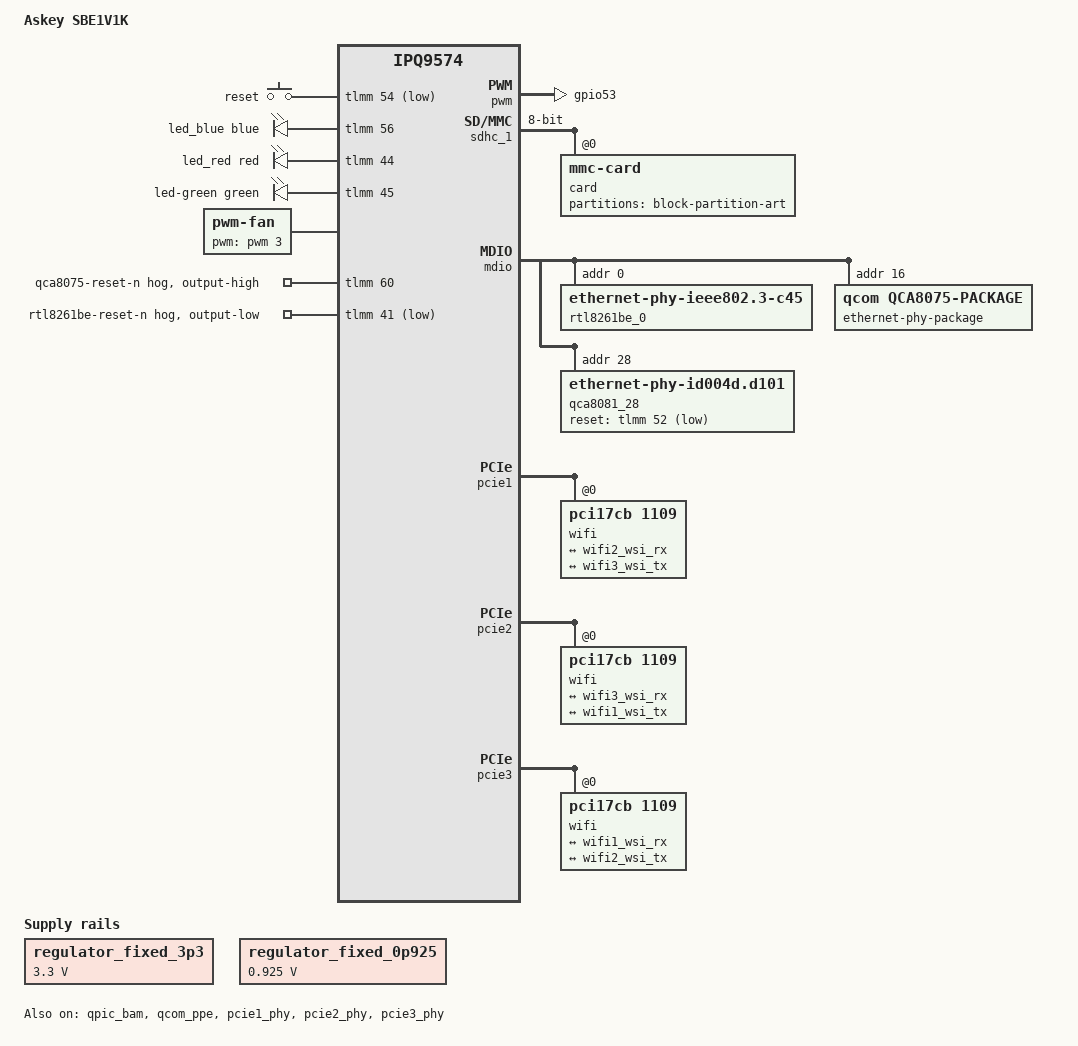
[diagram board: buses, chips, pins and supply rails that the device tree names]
// SPDX-License-Identifier: (GPL-2.0+ OR BSD-3-Clause)

/dts-v1/;

#include "ipq9574-common.dtsi"

/ {
	model = "Askey SBE1V1K";
	compatible = "askey,sbe1v1k", "qcom,ipq9574";

	aliases {
		led-boot = &led_blue;
		led-failsafe = &led_red;
		led-running = &led_blue;
		led-upgrade = &led_blue;
	};

	regulator_fixed_3p3: s3300 {
		compatible = "regulator-fixed";
		regulator-min-microvolt = <3300000>;
		regulator-max-microvolt = <3300000>;
		regulator-boot-on;
		regulator-always-on;
		regulator-name = "fixed_3p3";
	};

	regulator_fixed_0p925: s0925 {
		compatible = "regulator-fixed";
		regulator-min-microvolt = <925000>;
		regulator-max-microvolt = <925000>;
		regulator-boot-on;
		regulator-always-on;
		regulator-name = "fixed_0p925";
	};

	gpio-keys {
		compatible = "gpio-keys";
		pinctrl-0 = <&gpio_keys_default>;
		pinctrl-names = "default";

		reset {
			label = "reset";
			linux,code = <KEY_RESTART>;
			gpios = <&tlmm 54 GPIO_ACTIVE_LOW>;
			debounce-interval = <60>;
		};
	};

	leds {
		compatible = "gpio-leds";

		led_blue: led-blue {
			color = <LED_COLOR_ID_BLUE>;
			function = LED_FUNCTION_STATUS;
			gpios = <&tlmm 56 GPIO_ACTIVE_HIGH>;
		};

		led_red: led-red {
			color = <LED_COLOR_ID_RED>;
			function = LED_FUNCTION_STATUS;
			gpios = <&tlmm 44 GPIO_ACTIVE_HIGH>;
		};

		led-green {
			color = <LED_COLOR_ID_GREEN>;
			function = LED_FUNCTION_STATUS;
			gpios = <&tlmm 45 GPIO_ACTIVE_HIGH>;
		};
	};

	fan: pwm-fan {
		compatible = "pwm-fan";
		pwms = <&pwm 3 40000 0>;
		#cooling-cells = <2>;
		cooling-levels = <36 72 128 255>;
	};

	thermal-zones {
		top-glue-thermal {
			thermal-sensors = <&tsens 15>;

			trips {
				cpu_trip_crit: crit {
					temperature = <110000>;
					hysteresis = <1000>;
					type = "critical";
				};

				cpu_trip_hot: hot {
					temperature = <100000>;
					hysteresis = <1000>;
					type = "hot";
				};

				cpu_trip_active_high: active-high {
					temperature = <80000>;
					hysteresis = <1000>;
					type = "active";
				};

				cpu_trip_active_med: active-med {
					temperature = <65000>;
					hysteresis = <1000>;
					type = "active";
				};

				cpu_trip_active_low: active-low {
					temperature = <50000>;
					hysteresis = <1000>;
					type = "active";
				};

				cpu_trip_active_silent: active-silent {
					temperature = <40000>;
					hysteresis = <1000>;
					type = "active";
				};
			};

			cooling-maps {
				cpu-active-high {
					cooling-device = <&fan 3 3>;
					trip = <&cpu_trip_active_high>;
				};

				cpu-active-med {
					cooling-device = <&fan 2 2>;
					trip = <&cpu_trip_active_med>;
				};

				cpu-active-low {
					cooling-device = <&fan 1 1>;
					trip = <&cpu_trip_active_low>;
				};

				cpu-active-silent {
					cooling-device = <&fan 0 0>;
					trip = <&cpu_trip_active_silent>;
				};
			};
		};
	};
};

&pwm {
	pinctrl-0 = <&pwm_pins>;
	pinctrl-names = "default";
	status = "okay";
};

&rpm_requests {
	regulators {
		mp5496_l5: l5 {
			regulator-min-microvolt = <1800000>;
			regulator-max-microvolt = <1800000>;
			regulator-always-on;
			regulator-boot-on;
		};
	};
};

&sdhc_1 {
	#address-cells = <1>;
	#size-cells = <0>;
	bus-width = <8>;
	max-frequency = <384000000>;
	mmc-ddr-1_8v;
	mmc-hs200-1_8v;
	mmc-hs400-1_8v;
	mmc-hs400-enhanced-strobe;
	pinctrl-0 = <&sdc_default_state>;
	pinctrl-names = "default";
	status = "okay";

	card@0 {
		compatible = "mmc-card";
		reg = <0>;

		block {
			compatible = "block-device";

			partitions {
				block-partition-art {
					partname = "0:ART";

					nvmem-layout {
						compatible = "fixed-layout";
						#address-cells = <1>;
						#size-cells = <1>;

						ethaddr: ethaddr@0 {
							compatible = "mac-base";
							reg = <0x0 0x6>;
							#nvmem-cell-cells = <1>;
						};
					};
				};
			};
		};
	};
};

&tlmm {
	/*
	 * GPIO 60 is the shared hardware reset for the QCA8075 package, and the
	 * board holds it asserted (low) at power-on. reset-gpios is NOT honored
	 * on the package container node nor on the ethernet-phy@N nodes inside
	 * it (only standalone PHY nodes get MDIO reset handling), so drive it
	 * here as a gpio-hog. The hog is applied when the tlmm gpiochip
	 * registers (very early), releasing the package well before the MDIO
	 * bus is scanned; otherwise PHYs 18/19 read as "missing" and PPE port 3
	 * fails to connect (-ENODEV), wedging the whole ethernet driver.
	 */
	qca8075_reset_hog {
		gpio-hog;
		gpios = <60 GPIO_ACTIVE_HIGH>;
		output-high;
		line-name = "qca8075-reset-n";
	};

	/*
	 * RTL8261BE 10G PHY reset, same rationale as qca8075_reset_hog above:
	 * the kernel reads the PHY ID in mdiobus_scan(), before reset-gpios
	 * assert/deassert runs (that happens in phy_probe). This board holds
	 * the reset line asserted at power-on, so phy_id reads back 0x00000000,
	 * the driver binds the Generic Clause 45 PHY and WAN never comes up.
	 * Release it from a gpio-hog, applied when the tlmm gpiochip registers.
	 */
	rtl8261be_reset_hog {
		gpio-hog;
		gpios = <41 GPIO_ACTIVE_LOW>;
		output-low;
		line-name = "rtl8261be-reset-n";
	};

	gpio_keys_default: gpio-keys-default-state {
		pins = "gpio54";
		function = "gpio";
		drive-strength = <8>;
		bias-pull-up;
	};

	pwm_pins: pwm-pins {
		pwm {
			pins = "gpio53";
			function = "pwm";
			drive-strength = <8>;
		};
	};
};

&qpic_bam {
	status = "okay";
};

&qcom_ppe {
	status = "okay";

	ethernet-ports {
		#address-cells = <1>;
		#size-cells = <0>;

		port@3 {
			reg = <3>;
			phy-mode = "qsgmii";
			phy-handle = <&qca8075_18>;
			pcs-handle = <&pcs0_ch2>;
			managed = "in-band-status";
			label = "lan2";

			nvmem-cells = <&ethaddr 1>;
			nvmem-cell-names = "mac-address";

			clocks = <&nsscc NSS_CC_PORT3_MAC_CLK>,
				 <&nsscc NSS_CC_PORT3_RX_CLK>,
				 <&nsscc NSS_CC_PORT3_TX_CLK>;
			clock-names = "mac", "rx", "tx";

			resets = <&nsscc PORT3_MAC_ARES>,
				 <&nsscc PORT3_RX_ARES>,
				 <&nsscc PORT3_TX_ARES>;
			reset-names = "mac", "rx", "tx";
		};

		port@4 {
			reg = <4>;
			phy-mode = "qsgmii";
			phy-handle = <&qca8075_19>;
			pcs-handle = <&pcs0_ch3>;
			managed = "in-band-status";
			label = "lan3";

			nvmem-cells = <&ethaddr 1>;
			nvmem-cell-names = "mac-address";

			clocks = <&nsscc NSS_CC_PORT4_MAC_CLK>,
				 <&nsscc NSS_CC_PORT4_RX_CLK>,
				 <&nsscc NSS_CC_PORT4_TX_CLK>;
			clock-names = "mac", "rx", "tx";

			resets = <&nsscc PORT4_MAC_ARES>,
				 <&nsscc PORT4_RX_ARES>,
				 <&nsscc PORT4_TX_ARES>;
			reset-names = "mac", "rx", "tx";
		};

		port@5 {
			reg = <5>;
			phy-mode = "usxgmii";
			phy-handle = <&qca8081_28>;
			pcs-handle = <&pcs1_ch0>;
			managed = "in-band-status";
			label = "lan1";

			nvmem-cells = <&ethaddr 1>;
			nvmem-cell-names = "mac-address";

			clocks = <&nsscc NSS_CC_PORT5_MAC_CLK>,
				 <&nsscc NSS_CC_PORT5_RX_CLK>,
				 <&nsscc NSS_CC_PORT5_TX_CLK>;
			clock-names = "mac", "rx", "tx";

			resets = <&nsscc PORT5_MAC_ARES>,
				 <&nsscc PORT5_RX_ARES>,
				 <&nsscc PORT5_TX_ARES>;
			reset-names = "mac", "rx", "tx";
		};

		port@6 {
			reg = <6>;
			phy-mode = "usxgmii";
			phy-handle = <&rtl8261be_0>;
			pcs-handle = <&pcs2_ch0>;
			managed = "in-band-status";
			label = "wan";

			nvmem-cells = <&ethaddr 0>;
			nvmem-cell-names = "mac-address";

			clocks = <&nsscc NSS_CC_PORT6_MAC_CLK>,
				 <&nsscc NSS_CC_PORT6_RX_CLK>,
				 <&nsscc NSS_CC_PORT6_TX_CLK>;
			clock-names = "mac", "rx", "tx";

			resets = <&nsscc PORT6_MAC_ARES>,
				 <&nsscc PORT6_RX_ARES>,
				 <&nsscc PORT6_TX_ARES>;
			reset-names = "mac", "rx", "tx";
		};
	};
};

&mdio {
	status = "okay";

	rtl8261be_0: ethernet-phy@0 {
		compatible = "ethernet-phy-ieee802.3-c45";
		reg = <0>;
	};

	ethernet-phy-package@16 {
		compatible = "qcom,qca8075-package";
		#address-cells = <1>;
		#size-cells = <0>;
		reg = <16>;

		qcom,package-mode = "qsgmii";

		qca8075_18: ethernet-phy@18 {
			compatible = "ethernet-phy-ieee802.3-c22";
			reg = <18>;
		};

		qca8075_19: ethernet-phy@19 {
			compatible = "ethernet-phy-ieee802.3-c22";
			reg = <19>;
		};
	};

	qca8081_28: ethernet-phy@28 {
		compatible = "ethernet-phy-id004d.d101";
		reg = <28>;
		reset-gpios = <&tlmm 52 GPIO_ACTIVE_LOW>;
		reset-deassert-us = <10000>;

		leds {
			#address-cells = <1>;
			#size-cells = <0>;

			led@0 {
				reg = <0>;
				color = <LED_COLOR_ID_YELLOW>;
				default-state = "keep";
				function = LED_FUNCTION_LAN;
				active-low;
			};

			led@2 {
				reg = <2>;
				color = <LED_COLOR_ID_GREEN>;
				default-state = "keep";
				function = LED_FUNCTION_LAN;
				active-low;
			};
		};
	};
};

&pcie1_phy {
	status = "okay";
};

&pcie1 {
	pinctrl-0 = <&pcie1_default>;
	pinctrl-names = "default";

	perst-gpios = <&tlmm 26 GPIO_ACTIVE_LOW>;
	wake-gpios = <&tlmm 27 GPIO_ACTIVE_LOW>;
	status = "okay";

	pcie@0 {
		device_type = "pci";
		reg = <0x0 0x0 0x0 0x0 0x0>;
		#address-cells = <3>;
		#size-cells = <2>;
		ranges;

		wifi@0 {
			compatible = "pci17cb,1109";
			reg = <0x0 0x0 0x0 0x0 0x0>;
			qcom,calibration-variant = "Askey-SBE1V1K_1";

			nvmem-cells = <&ethaddr (-3)>;
			nvmem-cell-names = "mac-address";

			ports {
				#address-cells = <1>;
				#size-cells = <0>;

				port@0 {
					reg = <0>;

					wifi1_wsi_tx: endpoint {
						remote-endpoint = <&wifi2_wsi_rx>;
					};
				};

				port@1 {
					reg = <1>;

					wifi1_wsi_rx: endpoint {
						remote-endpoint = <&wifi3_wsi_tx>;
					};
				};
			};
		};
	};
};

&pcie2_phy {
	status = "okay";
};

&pcie2 {
	pinctrl-0 = <&pcie2_default>;
	pinctrl-names = "default";

	perst-gpios = <&tlmm 29 GPIO_ACTIVE_LOW>;
	wake-gpios = <&tlmm 30 GPIO_ACTIVE_LOW>;
	status = "okay";

	pcie@0 {
		device_type = "pci";
		reg = <0x0 0x0 0x0 0x0 0x0>;
		#address-cells = <3>;
		#size-cells = <2>;
		ranges;

		wifi@0 {
			compatible = "pci17cb,1109";
			reg = <0x0 0x0 0x0 0x0 0x0>;
			qcom,calibration-variant = "Askey-SBE1V1K_4";
			qcom,wsi-controller;

			nvmem-cells = <&ethaddr (-1)>;
			nvmem-cell-names = "mac-address";

			ports {
				#address-cells = <1>;
				#size-cells = <0>;

				port@0 {
					reg = <0>;

					wifi2_wsi_tx: endpoint {
						remote-endpoint = <&wifi3_wsi_rx>;
					};
				};

				port@1 {
					reg = <1>;

					wifi2_wsi_rx: endpoint {
						remote-endpoint = <&wifi1_wsi_tx>;
					};
				};
			};
		};
	};
};

&pcie3_phy {
	status = "okay";
};

&pcie3 {
	pinctrl-0 = <&pcie3_default>;
	pinctrl-names = "default";

	perst-gpios = <&tlmm 32 GPIO_ACTIVE_LOW>;
	wake-gpios = <&tlmm 33 GPIO_ACTIVE_LOW>;
	status = "okay";

	pcie@0,0 {
		device_type = "pci";
		reg = <0x0 0x0 0x0 0x0 0x0>;
		#address-cells = <3>;
		#size-cells = <2>;
		ranges;

		wifi@0 {
			compatible = "pci17cb,1109";
			reg = <0x0 0x0 0x0 0x0 0x0>;
			qcom,calibration-variant = "Askey-SBE1V1K_2";

			nvmem-cells = <&ethaddr (-2)>;
			nvmem-cell-names = "mac-address";

			ports {
				#address-cells = <1>;
				#size-cells = <0>;

				port@0 {
					reg = <0>;

					wifi3_wsi_tx: endpoint {
						remote-endpoint = <&wifi1_wsi_rx>;
					};
				};

				port@1 {
					reg = <1>;

					wifi3_wsi_rx: endpoint {
						remote-endpoint = <&wifi2_wsi_tx>;
					};
				};
			};
		};
	};
};
